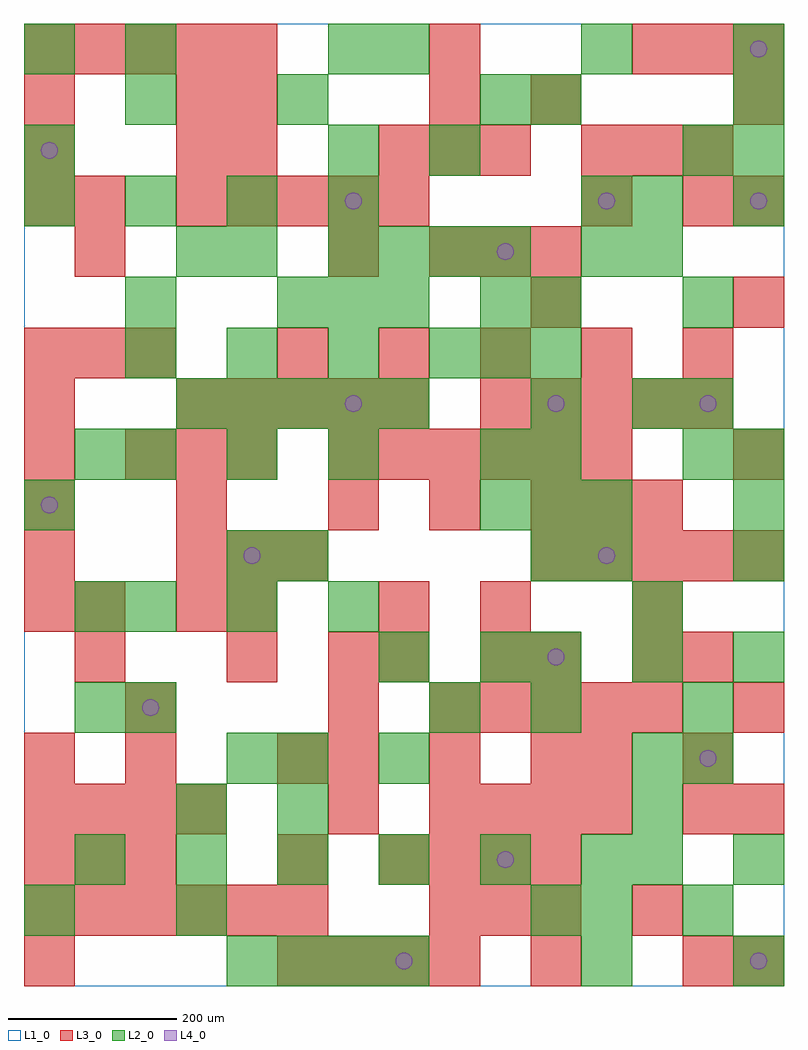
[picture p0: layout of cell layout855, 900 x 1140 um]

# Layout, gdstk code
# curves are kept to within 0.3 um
import gdstk
lib = gdstk.Library(unit=1e-6, precision=1e-09)
def R(c, l, rs):  # rectangles x0, y0, x1, y1
    for r in rs: c.add(gdstk.rectangle(r[:2], r[2:], *l))
def A(c, l, x, y, w, h, nx, ny, dx, dy):  # array of equal rectangles
    R(c, l, [(x+i*dx, y+j*dy, x+i*dx+w, y+j*dy+h) for i in range(nx) for j in range(ny)])
def P(c, l, *ps):  # polygons
    for p in ps: c.add(gdstk.Polygon(p, *l))
L1_0 = (1, 0)
L2_0 = (2, 0)
L3_0 = (3, 0)
L4_0 = (4, 0)

layout855 = lib.new_cell('layout855')
R(layout855, L1_0, [(0,0,900,1140)])
A(layout855, L2_0, 240, 0, 60, 60, 4, 1, 60, 0)
A(layout855, L2_0, 60, 120, 60, 60, 6, 1, 120, 0)
A(layout855, L2_0, 720, 120, 60, 60, 1, 3, 0, 60)
A(layout855, L2_0, 600, 360, 60, 60, 3, 1, 120, 0)
A(layout855, L2_0, 120, 420, 60, 60, 3, 2, 120, 180)
A(layout855, L2_0, 840, 480, 60, 60, 1, 3, 0, 60)
A(layout855, L2_0, 540, 540, 60, 60, 3, 1, 60, 0)
A(layout855, L2_0, 600, 600, 60, 60, 1, 4, 0, 60)
A(layout855, L2_0, 180, 660, 60, 60, 5, 1, 60, 0)
A(layout855, L2_0, 120, 720, 60, 60, 4, 1, 120, 0)
A(layout855, L2_0, 300, 780, 60, 60, 3, 1, 60, 0)
A(layout855, L2_0, 360, 840, 60, 60, 4, 1, 60, 0)
A(layout855, L2_0, 0, 900, 60, 60, 4, 1, 120, 0)
A(layout855, L2_0, 840, 900, 60, 60, 1, 4, 0, 60)
R(layout855, L2_0, [(660,0,720,60), (840,0,900,60), (0,60,60,120), (180,60,240,120), (600,60,660,120), (660,60,720,120), (780,60,840,120), (840,120,900,180), (180,180,240,240), (300,180,360,240), (240,240,300,300), (300,240,360,300), (420,240,480,300), (780,240,840,300), (60,300,120,360), (120,300,180,360), (480,300,540,360), (600,300,660,360), (780,300,840,360), (420,360,480,420), (540,360,600,420), (60,420,120,480), (720,420,780,480), (240,480,300,540), (300,480,360,540), (600,480,660,540), (660,480,720,540), (0,540,60,600), (60,600,120,660), (540,600,600,660), (780,600,840,660), (720,660,780,720), (780,660,840,720), (540,720,600,780), (120,780,180,840), (540,780,600,840), (780,780,840,840), (180,840,240,900), (240,840,300,900), (660,840,720,900), (720,840,780,900), (660,900,720,960), (720,900,780,960), (0,960,60,1020), (360,960,420,1020), (480,960,540,1020), (780,960,840,1020), (120,1020,180,1080), (300,1020,360,1080), (540,1020,600,1080), (600,1020,660,1080), (0,1080,60,1140), (120,1080,180,1140), (360,1080,420,1140), (420,1080,480,1140), (660,1080,720,1140)])
A(layout855, L3_0, 300, 0, 60, 60, 4, 1, 60, 0)
A(layout855, L3_0, 0, 60, 60, 60, 6, 1, 60, 0)
A(layout855, L3_0, 480, 60, 60, 60, 3, 2, 60, 780)
A(layout855, L3_0, 0, 120, 60, 60, 3, 2, 60, 600)
A(layout855, L3_0, 420, 120, 60, 60, 4, 1, 60, 0)
A(layout855, L3_0, 0, 180, 60, 60, 4, 1, 60, 0)
A(layout855, L3_0, 480, 180, 60, 60, 4, 1, 60, 0)
A(layout855, L3_0, 360, 240, 60, 60, 3, 1, 120, 0)
A(layout855, L3_0, 480, 300, 60, 60, 5, 1, 60, 0)
A(layout855, L3_0, 180, 480, 60, 60, 3, 1, 60, 0)
A(layout855, L3_0, 600, 480, 60, 60, 5, 1, 60, 0)
A(layout855, L3_0, 0, 540, 60, 60, 3, 1, 180, 0)
A(layout855, L3_0, 600, 540, 60, 60, 3, 1, 60, 0)
A(layout855, L3_0, 120, 600, 60, 60, 3, 1, 60, 0)
A(layout855, L3_0, 360, 600, 60, 60, 6, 1, 60, 0)
A(layout855, L3_0, 180, 660, 60, 60, 5, 2, 60, 240)
A(layout855, L3_0, 540, 660, 60, 60, 5, 1, 60, 0)
A(layout855, L3_0, 300, 720, 60, 60, 5, 1, 120, 0)
A(layout855, L3_0, 840, 780, 60, 60, 1, 3, 0, 120)
A(layout855, L3_0, 0, 900, 60, 60, 1, 3, 0, 60)
A(layout855, L3_0, 420, 960, 60, 60, 3, 1, 60, 0)
A(layout855, L3_0, 660, 960, 60, 60, 3, 1, 60, 0)
A(layout855, L3_0, 0, 1080, 60, 60, 5, 1, 60, 0)
A(layout855, L3_0, 720, 1080, 60, 60, 3, 1, 60, 0)
R(layout855, L3_0, [(0,0,60,60), (600,0,660,60), (780,0,840,60), (840,0,900,60), (720,60,780,120), (300,120,360,180), (360,180,420,240), (780,180,840,240), (840,180,900,240), (0,240,60,300), (120,240,180,300), (300,240,360,300), (660,240,720,300), (780,240,840,300), (120,300,180,360), (360,300,420,360), (840,300,900,360), (60,360,120,420), (240,360,300,420), (360,360,420,420), (420,360,480,420), (540,360,600,420), (600,360,660,420), (720,360,780,420), (780,360,840,420), (0,420,60,480), (60,420,120,480), (180,420,240,480), (240,420,300,480), (420,420,480,480), (540,420,600,480), (720,420,780,480), (0,480,60,540), (480,540,540,600), (0,600,60,660), (840,600,900,660), (0,660,60,720), (600,780,660,840), (60,840,120,900), (360,840,420,900), (60,900,120,960), (660,900,720,960), (780,900,840,960), (180,960,240,1020), (240,960,300,1020), (180,1020,240,1080), (240,1020,300,1080), (480,1020,540,1080), (600,1020,660,1080), (480,1080,540,1140)])
P(layout855, L4_0, [(40,570),(39.239,573.827),(37.071,577.071),(33.827,579.239),(30,580),(26.173,579.239),(22.929,577.071),(20.761,573.827),(20,570),(20.761,566.173),(22.929,562.929),(26.173,560.761),(30,560),(33.827,560.761),(37.071,562.929),(39.239,566.173)],
  [(40,990),(39.239,993.827),(37.071,997.071),(33.827,999.239),(30,1000),(26.173,999.239),(22.929,997.071),(20.761,993.827),(20,990),(20.761,986.173),(22.929,982.929),(26.173,980.761),(30,980),(33.827,980.761),(37.071,982.929),(39.239,986.173)],
  [(160,330),(159.239,333.827),(157.071,337.071),(153.827,339.239),(150,340),(146.173,339.239),(142.929,337.071),(140.761,333.827),(140,330),(140.761,326.173),(142.929,322.929),(146.173,320.761),(150,320),(153.827,320.761),(157.071,322.929),(159.239,326.173)],
  [(280,510),(279.239,513.827),(277.071,517.071),(273.827,519.239),(270,520),(266.173,519.239),(262.929,517.071),(260.761,513.827),(260,510),(260.761,506.173),(262.929,502.929),(266.173,500.761),(270,500),(273.827,500.761),(277.071,502.929),(279.239,506.173)],
  [(400,690),(399.239,693.827),(397.071,697.071),(393.827,699.239),(390,700),(386.173,699.239),(382.929,697.071),(380.761,693.827),(380,690),(380.761,686.173),(382.929,682.929),(386.173,680.761),(390,680),(393.827,680.761),(397.071,682.929),(399.239,686.173)],
  [(400,930),(399.239,933.827),(397.071,937.071),(393.827,939.239),(390,940),(386.173,939.239),(382.929,937.071),(380.761,933.827),(380,930),(380.761,926.173),(382.929,922.929),(386.173,920.761),(390,920),(393.827,920.761),(397.071,922.929),(399.239,926.173)],
  [(460,30),(459.239,33.827),(457.071,37.071),(453.827,39.239),(450,40),(446.173,39.239),(442.929,37.071),(440.761,33.827),(440,30),(440.761,26.173),(442.929,22.929),(446.173,20.761),(450,20),(453.827,20.761),(457.071,22.929),(459.239,26.173)],
  [(580,150),(579.239,153.827),(577.071,157.071),(573.827,159.239),(570,160),(566.173,159.239),(562.929,157.071),(560.761,153.827),(560,150),(560.761,146.173),(562.929,142.929),(566.173,140.761),(570,140),(573.827,140.761),(577.071,142.929),(579.239,146.173)],
  [(580,870),(579.239,873.827),(577.071,877.071),(573.827,879.239),(570,880),(566.173,879.239),(562.929,877.071),(560.761,873.827),(560,870),(560.761,866.173),(562.929,862.929),(566.173,860.761),(570,860),(573.827,860.761),(577.071,862.929),(579.239,866.173)],
  [(640,390),(639.239,393.827),(637.071,397.071),(633.827,399.239),(630,400),(626.173,399.239),(622.929,397.071),(620.761,393.827),(620,390),(620.761,386.173),(622.929,382.929),(626.173,380.761),(630,380),(633.827,380.761),(637.071,382.929),(639.239,386.173)],
  [(640,690),(639.239,693.827),(637.071,697.071),(633.827,699.239),(630,700),(626.173,699.239),(622.929,697.071),(620.761,693.827),(620,690),(620.761,686.173),(622.929,682.929),(626.173,680.761),(630,680),(633.827,680.761),(637.071,682.929),(639.239,686.173)],
  [(700,510),(699.239,513.827),(697.071,517.071),(693.827,519.239),(690,520),(686.173,519.239),(682.929,517.071),(680.761,513.827),(680,510),(680.761,506.173),(682.929,502.929),(686.173,500.761),(690,500),(693.827,500.761),(697.071,502.929),(699.239,506.173)],
  [(700,930),(699.239,933.827),(697.071,937.071),(693.827,939.239),(690,940),(686.173,939.239),(682.929,937.071),(680.761,933.827),(680,930),(680.761,926.173),(682.929,922.929),(686.173,920.761),(690,920),(693.827,920.761),(697.071,922.929),(699.239,926.173)],
  [(820,270),(819.239,273.827),(817.071,277.071),(813.827,279.239),(810,280),(806.173,279.239),(802.929,277.071),(800.761,273.827),(800,270),(800.761,266.173),(802.929,262.929),(806.173,260.761),(810,260),(813.827,260.761),(817.071,262.929),(819.239,266.173)],
  [(820,690),(819.239,693.827),(817.071,697.071),(813.827,699.239),(810,700),(806.173,699.239),(802.929,697.071),(800.761,693.827),(800,690),(800.761,686.173),(802.929,682.929),(806.173,680.761),(810,680),(813.827,680.761),(817.071,682.929),(819.239,686.173)],
  [(880,30),(879.239,33.827),(877.071,37.071),(873.827,39.239),(870,40),(866.173,39.239),(862.929,37.071),(860.761,33.827),(860,30),(860.761,26.173),(862.929,22.929),(866.173,20.761),(870,20),(873.827,20.761),(877.071,22.929),(879.239,26.173)],
  [(880,930),(879.239,933.827),(877.071,937.071),(873.827,939.239),(870,940),(866.173,939.239),(862.929,937.071),(860.761,933.827),(860,930),(860.761,926.173),(862.929,922.929),(866.173,920.761),(870,920),(873.827,920.761),(877.071,922.929),(879.239,926.173)],
  [(880,1110),(879.239,1113.827),(877.071,1117.071),(873.827,1119.239),(870,1120),(866.173,1119.239),(862.929,1117.071),(860.761,1113.827),(860,1110),(860.761,1106.173),(862.929,1102.929),(866.173,1100.761),(870,1100),(873.827,1100.761),(877.071,1102.929),(879.239,1106.173)])

lib.write_gds('layout855.gds')
